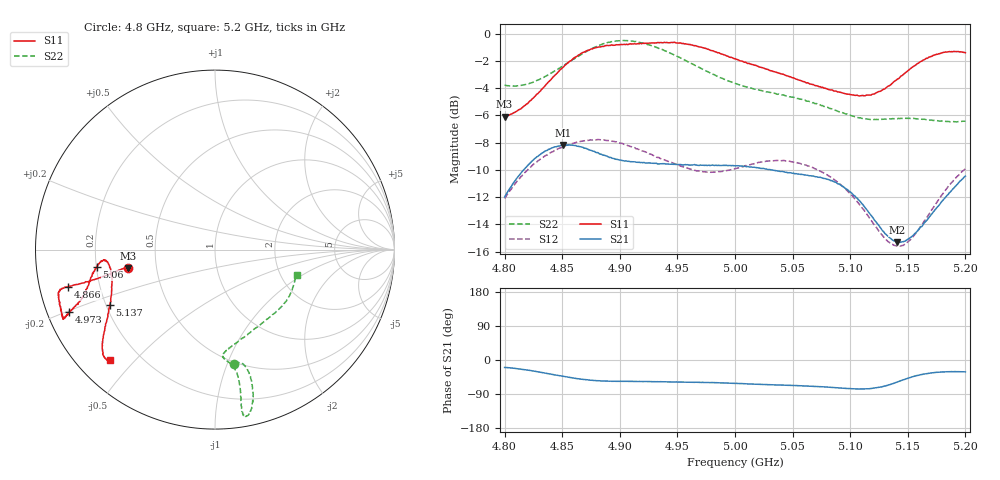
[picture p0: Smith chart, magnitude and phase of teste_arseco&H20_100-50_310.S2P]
! Network Analyzer HP8722D
! Hewlett-Packard
! Data name: Linha & Wilkinson
! Saver's name: Rodrigo Anjos
! Comments: Teste da utilização de aquisição
! continua pelo VNA HP8722D
! Time and date: 6/5/2025 15:09
!  Frequency  S11  S21  S12  S22
# HZ  S  MA R 50
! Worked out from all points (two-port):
!   401 points, 4.8 GHz to 5.2 GHz, reference 50 ohm
!   highest |S21| = -8.17 dB at 4.851 GHz (marker M1); lowest = -15.3 dB at 5.141 GHz (marker M2)
!   |S21| within 3 dB of the highest: 4.806 GHz to 5.092 GHz (286.3 MHz wide, 5.79 % of centre); 5.191817 GHz to end of sweep
!   lowest |S11| = -6.1 dB at 4.8 GHz (marker M3), VSWR 2.97, Z = 17 - j4.6 ohm
!   |S11| at or under -10 dB: nowhere
!   |S22| runs from -6.5 to -0.5 dB; largest |S21 - S12| = 0.62
!   S11 on the Smith chart (normalised r, x): 4.8 GHz: 0.34, -0.09; 4.866 GHz: 0.09, -0.12; 4.973 GHz: 0.06, -0.20; 5.06 GHz: 0.20, -0.07; 5.137 GHz: 0.22, -0.23; 5.2 GHz: 0.09, -0.43
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4.8e9  0.4965 -168.1  0.2514 -19.7  0.2483 -140.8  0.6481 -80.4
4.823e9  0.5703 -167.5  0.3379 -28.0  0.3251 -143.7  0.6602 -76.0
4.851e9  0.755 -165.8  0.3906 -43.3  0.3845 -149.1  0.7643 -74.6
4.866e9  0.8454 -165.8  0.3842 -50.4  0.4026 -151.8  0.8368 -75.3
4.867e9  0.8503 -165.8  0.3832 -50.7  0.4029 -152.0  0.8422 -75.4
4.9e9  0.9129 -162.6  0.3435 -56.3  0.3967 -156.5  0.943 -79.1
4.934e9  0.9277 -156.3  0.3327 -57.5  0.351 -155.7  0.8833 -80.5
4.949e9  0.9263 -155.5  0.3315 -57.8  0.3315 -153.1  0.8292 -80.1
4.973e9  0.8869 -156.8  0.3286 -59.4  0.311 -145.8  0.7364 -79.6
5e9  0.8098 -159.0  0.3272 -61.8  0.3198 -137.2  0.6575 -81.2
5.035e9  0.724 -165.3  0.3146 -65.8  0.3423 -134.3  0.6041 -85.5
5.06e9  0.6671 -171.7  0.3031 -68.2  0.3303 -136.1  0.5701 -84.2
5.067e9  0.6516 -173.0  0.3004 -69.1  0.3228 -136.6  0.5578 -82.6
5.082e9  0.6228 -174.6  0.2906 -71.9  0.2994 -138.2  0.5322 -77.1
5.101e9  0.5975 -172.0  0.2605 -75.7  0.2556 -138.8  0.5 -66.6
5.116e9  0.5954 -165.5  0.2209 -76.0  0.2127 -135.5  0.485 -55.8
5.134e9  0.6448 -154.3  0.1785 -65.3  0.1712 -120.7  0.4868 -43.3
5.137e9  0.6606 -152.4  0.1744 -62.5  0.1682 -116.9  0.4884 -41.5
5.141e9  0.6821 -150.2  0.1713 -57.9  0.1659 -111.7  0.4877 -39.1
5.153e9  0.748 -145.0  0.1793 -45.3  0.1763 -96.1  0.4887 -32.8
5.174e9  0.8383 -138.3  0.2262 -32.8  0.2363 -80.3  0.48 -23.9
5.2e9  0.8524 -133.6  0.3 -31.3  0.3191 -76.9  0.4774 -17.6
